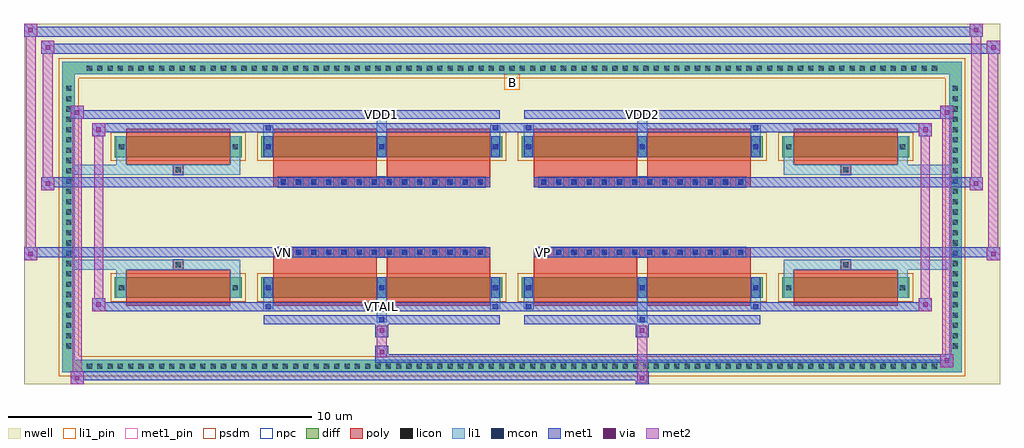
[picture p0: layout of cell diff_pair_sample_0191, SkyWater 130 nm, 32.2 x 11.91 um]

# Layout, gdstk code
import gdstk
lib = gdstk.Library(unit=1e-6, precision=5e-09)
def R(c, l, rs):  # rectangles x0, y0, x1, y1
    for r in rs: c.add(gdstk.rectangle(r[:2], r[2:], *l))
def A(c, l, x, y, w, h, nx, ny, dx, dy):  # array of equal rectangles
    R(c, l, [(x+i*dx, y+j*dy, x+i*dx+w, y+j*dy+h) for i in range(nx) for j in range(ny)])
def P(c, l, *ps):  # polygons
    for p in ps: c.add(gdstk.Polygon(p, *l))
nwell = (64, 20)
diff = (65, 20)
poly = (66, 20)
licon = (66, 44)
li1_pin = (67, 16)
li1 = (67, 20)
mcon = (67, 44)
met1_pin = (68, 16)
met1 = (68, 20)
via = (68, 44)
met2 = (69, 20)
psdm = (94, 20)
npc = (95, 20)

diff_pair_sample_0191 = lib.new_cell('diff_pair_sample_0191')
R(diff_pair_sample_0191, nwell, [(-16.1,-5.52,16.1,6.39), (-13.42,-3.71,-0.01,-0.795), (0.01,-3.71,13.42,-0.795), (-13.42,0.795,-0.01,3.71), (0.01,0.795,13.42,3.71)])
A(diff_pair_sample_0191, diff, -14.145, -5.12, 0.41, 0.41, 83, 2, 0.34, 9.83)
A(diff_pair_sample_0191, diff, -14.83, -4.455, 0.41, 0.41, 1, 26, 0, 0.34)
A(diff_pair_sample_0191, diff, 14.42, -4.455, 0.41, 0.41, 1, 26, 0, 0.34)
R(diff_pair_sample_0191, diff, [(-14.145,-5.12,14.145,-4.71), (-14.83,-4.455,-14.42,4.455), (14.42,-4.455,14.83,4.455), (-13.11,-2.665,-8.91,-1.985), (-8.27,-2.665,-0.32,-1.985), (0.32,-2.665,8.27,-1.985), (8.91,-2.665,13.11,-1.985), (-13.11,1.985,-8.91,2.665), (-8.27,1.985,-0.32,2.665), (0.32,1.985,8.27,2.665), (8.91,1.985,13.11,2.665), (-14.145,4.71,14.145,5.12)])
P(diff_pair_sample_0191, diff, [(14.83,5.12),(-14.83,5.12),(-14.83,-4.71),(-14.42,-4.71),(-14.42,4.71),(14.42,4.71),(14.42,-4.71),(-14.42,-4.71),(-14.83,-4.71),(-14.83,-5.12),(14.83,-5.12)])
A(diff_pair_sample_0191, poly, -7.71, -1.325, 0.33, 0.33, 14, 2, 0.5, 2.32)
A(diff_pair_sample_0191, poly, 0.88, -1.325, 0.33, 0.33, 14, 2, 0.5, 2.32)
R(diff_pair_sample_0191, poly, [(-12.72,-2.92,-9.3,-1.73), (-7.88,-2.92,-4.46,-1.73), (-4.13,-2.92,-0.71,-1.73), (0.71,-2.92,4.13,-1.73), (4.46,-2.92,7.88,-1.73), (9.3,-2.92,12.72,-1.73), (-11.175,-1.73,-10.845,-1.4), (-11.175,-1.73,-10.845,-1.4), (-7.88,-1.73,-4.46,-1.325), (-4.13,-1.73,-0.71,-1.325), (0.71,-1.73,4.13,-1.325), (4.46,-1.73,7.88,-1.325), (10.845,-1.73,11.175,-1.4), (10.845,-1.73,11.175,-1.4), (-7.88,-1.325,-0.71,-0.995), (0.71,-1.325,7.88,-0.995), (-7.88,0.995,-0.71,1.325), (0.71,0.995,7.88,1.325), (-7.88,1.325,-4.46,1.73), (-4.13,1.325,-0.71,1.73), (0.71,1.325,4.13,1.73), (4.46,1.325,7.88,1.73), (-11.175,1.4,-10.845,1.73), (-11.175,1.4,-10.845,1.73), (10.845,1.4,11.175,1.73), (10.845,1.4,11.175,1.73), (-12.72,1.73,-9.3,2.92), (-7.88,1.73,-4.46,2.92), (-4.13,1.73,-0.71,2.92), (0.71,1.73,4.13,2.92), (4.46,1.73,7.88,2.92), (9.3,1.73,12.72,2.92)])
A(diff_pair_sample_0191, licon, -14.025, -5, 0.17, 0.17, 83, 2, 0.34, 9.83)
A(diff_pair_sample_0191, licon, -14.71, -4.335, 0.17, 0.17, 1, 26, 0, 0.34)
A(diff_pair_sample_0191, licon, 14.54, -4.335, 0.17, 0.17, 1, 26, 0, 0.34)
A(diff_pair_sample_0191, licon, -8.13, -2.41, 0.17, 0.17, 3, 2, 3.75, 4.65)
A(diff_pair_sample_0191, licon, 0.46, -2.41, 0.17, 0.17, 3, 2, 3.75, 4.65)
A(diff_pair_sample_0191, licon, -7.63, -1.245, 0.17, 0.17, 14, 2, 0.5, 2.32)
A(diff_pair_sample_0191, licon, 0.96, -1.245, 0.17, 0.17, 14, 2, 0.5, 2.32)
R(diff_pair_sample_0191, licon, [(-12.97,-2.41,-12.8,-2.24), (-9.22,-2.41,-9.05,-2.24), (9.05,-2.41,9.22,-2.24), (12.8,-2.41,12.97,-2.24), (-11.095,-1.65,-10.925,-1.48), (10.925,-1.65,11.095,-1.48), (-11.095,1.48,-10.925,1.65), (10.925,1.48,11.095,1.65), (-12.97,2.24,-12.8,2.41), (-9.22,2.24,-9.05,2.41), (9.05,2.24,9.22,2.41), (12.8,2.24,12.97,2.41)])
R(diff_pair_sample_0191, li1_pin, [(-0.25,4.21,0.25,4.71)])
A(diff_pair_sample_0191, li1, -14.105, -5.08, 0.33, 0.33, 83, 2, 0.34, 9.83)
A(diff_pair_sample_0191, li1, -14.79, -4.415, 0.33, 0.33, 1, 26, 0, 0.34)
A(diff_pair_sample_0191, li1, 14.46, -4.415, 0.33, 0.33, 1, 26, 0, 0.34)
A(diff_pair_sample_0191, li1, -8.21, -2.665, 0.33, 0.68, 3, 2, 3.75, 4.65)
A(diff_pair_sample_0191, li1, 0.38, -2.665, 0.33, 0.68, 3, 2, 3.75, 4.65)
A(diff_pair_sample_0191, li1, -8.21, -2.49, 0.33, 0.33, 3, 2, 3.75, 4.65)
A(diff_pair_sample_0191, li1, 0.38, -2.49, 0.33, 0.33, 3, 2, 3.75, 4.65)
A(diff_pair_sample_0191, li1, -7.71, -1.325, 0.33, 0.33, 14, 2, 0.5, 2.32)
A(diff_pair_sample_0191, li1, 0.88, -1.325, 0.33, 0.33, 14, 2, 0.5, 2.32)
R(diff_pair_sample_0191, li1, [(-14.83,-5.12,-14.42,-4.71), (-14.83,-5.12,-14.42,-4.71), (-14.42,-5.12,14.42,-4.71), (14.42,-5.12,14.83,-4.71), (14.42,-5.12,14.83,-4.71), (-14.83,-4.71,-14.42,4.71), (14.42,-4.71,14.83,4.71), (-4.46,-3.47,-4.13,-2.665), (-4.38,-3.47,-4.21,-3.3), (4.13,-3.47,4.46,-2.665), (4.21,-3.47,4.38,-3.3), (-8.21,-3.04,-7.88,-2.665), (-8.13,-3.04,-7.96,-2.87), (-0.71,-3.04,-0.38,-2.665), (-0.63,-3.04,-0.46,-2.87), (0.38,-3.04,0.71,-2.665), (0.46,-3.04,0.63,-2.87), (7.88,-3.04,8.21,-2.665), (7.96,-3.04,8.13,-2.87), (-13.05,-2.665,-12.72,-1.985), (-9.3,-2.665,-8.97,-1.985), (8.97,-2.665,9.3,-1.985), (12.72,-2.665,13.05,-1.985), (-13.05,-2.49,-12.72,-2.16), (-9.3,-2.49,-8.97,-2.16), (8.97,-2.49,9.3,-2.16), (12.72,-2.49,13.05,-2.16), (-8.13,-2.41,-7.96,-2.24), (-8.13,-2.41,-7.96,-2.24), (-4.38,-2.41,-4.21,-2.24), (-4.38,-2.41,-4.21,-2.24), (-0.63,-2.41,-0.46,-2.24), (-0.63,-2.41,-0.46,-2.24), (0.46,-2.41,0.63,-2.24), (0.46,-2.41,0.63,-2.24), (4.21,-2.41,4.38,-2.24), (4.21,-2.41,4.38,-2.24), (7.96,-2.41,8.13,-2.24), (7.96,-2.41,8.13,-2.24), (-13.05,-1.985,-12.72,-1.4), (-9.3,-1.985,-8.97,-1.4), (8.97,-1.985,9.3,-1.4), (12.72,-1.985,13.05,-1.4), (-14.83,-1.73,-11.175,-1.4), (-13.05,-1.73,-11.175,-1.4), (-11.175,-1.73,-10.845,-1.4), (-10.845,-1.73,-8.97,-1.4), (8.97,-1.73,10.845,-1.4), (10.845,-1.73,11.175,-1.4), (10.845,-1.73,14.83,-1.4), (11.175,-1.73,13.05,-1.4), (-14.83,1.4,-11.175,1.73), (-13.05,1.4,-11.175,1.73), (-13.05,1.4,-12.72,1.985), (-11.175,1.4,-10.845,1.73), (-10.845,1.4,-8.97,1.73), (-9.3,1.4,-8.97,1.985), (8.97,1.4,10.845,1.73), (8.97,1.4,9.3,1.985), (10.845,1.4,11.175,1.73), (10.845,1.4,14.83,1.73), (11.175,1.4,13.05,1.73), (12.72,1.4,13.05,1.985), (-13.05,1.985,-12.72,2.665), (-9.3,1.985,-8.97,2.665), (8.97,1.985,9.3,2.665), (12.72,1.985,13.05,2.665), (-13.05,2.16,-12.72,2.49), (-9.3,2.16,-8.97,2.49), (8.97,2.16,9.3,2.49), (12.72,2.16,13.05,2.49), (-8.13,2.24,-7.96,2.41), (-8.13,2.24,-7.96,2.41), (-4.38,2.24,-4.21,2.41), (-4.38,2.24,-4.21,2.41), (-0.63,2.24,-0.46,2.41), (-0.63,2.24,-0.46,2.41), (0.46,2.24,0.63,2.41), (0.46,2.24,0.63,2.41), (4.21,2.24,4.38,2.41), (4.21,2.24,4.38,2.41), (7.96,2.24,8.13,2.41), (7.96,2.24,8.13,2.41), (-8.21,2.665,-7.88,3.04), (-4.46,2.665,-4.13,3.47), (-0.71,2.665,-0.38,3.04), (0.38,2.665,0.71,3.04), (4.13,2.665,4.46,3.47), (7.88,2.665,8.21,3.04), (-8.13,2.87,-7.96,3.04), (-0.63,2.87,-0.46,3.04), (0.46,2.87,0.63,3.04), (7.96,2.87,8.13,3.04), (-4.38,3.3,-4.21,3.47), (4.21,3.3,4.38,3.47), (-14.83,4.71,-14.42,5.12), (-14.83,4.71,-14.42,5.12), (-14.42,4.71,14.42,5.12), (14.42,4.71,14.83,5.12), (14.42,4.71,14.83,5.12)])
A(diff_pair_sample_0191, mcon, -8.13, -2.41, 0.17, 0.17, 3, 2, 3.75, 4.65)
A(diff_pair_sample_0191, mcon, 0.46, -2.41, 0.17, 0.17, 3, 2, 3.75, 4.65)
A(diff_pair_sample_0191, mcon, -7.63, -1.245, 0.17, 0.17, 14, 2, 0.5, 2.32)
A(diff_pair_sample_0191, mcon, 0.96, -1.245, 0.17, 0.17, 14, 2, 0.5, 2.32)
R(diff_pair_sample_0191, mcon, [(-4.38,-3.47,-4.21,-3.3), (4.21,-3.47,4.38,-3.3), (-8.13,-3.04,-7.96,-2.87), (-0.63,-3.04,-0.46,-2.87), (0.46,-3.04,0.63,-2.87), (7.96,-3.04,8.13,-2.87), (-8.13,2.87,-7.96,3.04), (-0.63,2.87,-0.46,3.04), (0.46,2.87,0.63,3.04), (7.96,2.87,8.13,3.04), (-4.38,3.3,-4.21,3.47), (4.21,3.3,4.38,3.47)])
R(diff_pair_sample_0191, met1_pin, [(-4.43,-3.08,-4.16,-2.81), (-7.68,-1.285,-7.41,-1.015), (0.91,-1.285,1.18,-1.015), (-4.43,3.26,-4.16,3.53), (4.16,3.26,4.43,3.53)])
A(diff_pair_sample_0191, met1, -8.19, -2.665, 0.29, 0.68, 3, 2, 3.75, 4.65)
A(diff_pair_sample_0191, met1, 0.4, -2.665, 0.29, 0.68, 3, 2, 3.75, 4.65)
A(diff_pair_sample_0191, met1, -8.19, -2.47, 0.29, 0.29, 3, 2, 3.75, 4.65)
A(diff_pair_sample_0191, met1, 0.4, -2.47, 0.29, 0.29, 3, 2, 3.75, 4.65)
A(diff_pair_sample_0191, met1, -7.69, -1.305, 0.29, 0.29, 14, 2, 0.5, 2.32)
A(diff_pair_sample_0191, met1, 0.9, -1.305, 0.29, 0.29, 14, 2, 0.5, 2.32)
R(diff_pair_sample_0191, met1, [(-14.56,-5.52,-14.13,-5.09), (4.08,-5.52,4.51,-5.09), (-14.56,-5.38,4.51,-5.09), (14.13,-4.95,14.56,-4.52), (-4.51,-4.81,14.56,-4.52), (-4.51,-4.67,-4.08,-4.24), (-4.51,-3.96,-4.08,-3.53), (4.08,-3.96,4.51,-3.53), (-8.19,-3.53,-0.4,-3.24), (-4.44,-3.53,-4.15,-3.24), (0.4,-3.53,8.19,-3.24), (4.15,-3.53,4.44,-3.24), (-13.85,-3.1,-13.42,-2.67), (-13.85,-3.1,-8.19,-2.81), (-8.19,-3.1,-7.9,-2.81), (-8.19,-3.1,-0.4,-2.81), (-0.69,-3.1,-0.4,-2.81), (-0.4,-3.1,0.4,-2.81), (0.4,-3.1,0.69,-2.81), (0.4,-3.1,8.19,-2.81), (7.9,-3.1,8.19,-2.81), (8.19,-3.1,13.85,-2.81), (13.42,-3.1,13.85,-2.67), (-16.1,-1.425,-15.67,-0.995), (15.67,-1.425,16.1,-0.995), (-16.1,-1.325,-0.71,-0.995), (-7.88,-1.325,-0.71,-0.995), (0.71,-1.325,7.88,-0.995), (0.71,-1.325,16.1,-0.995), (-15.53,0.895,-15.1,1.325), (15.1,0.895,15.53,1.325), (-15.53,0.995,-7.88,1.325), (-7.88,0.995,-0.71,1.325), (0.71,0.995,7.88,1.325), (7.88,0.995,15.53,1.325), (-13.85,2.67,-13.42,3.1), (13.42,2.67,13.85,3.1), (-13.85,2.81,-8.19,3.1), (-8.19,2.81,-7.9,3.1), (-8.19,2.81,-0.4,3.1), (-0.69,2.81,-0.4,3.1), (-0.4,2.81,0.4,3.1), (0.4,2.81,0.69,3.1), (0.4,2.81,8.19,3.1), (7.9,2.81,8.19,3.1), (8.19,2.81,13.85,3.1), (-14.56,3.24,-14.13,3.67), (-14.56,3.24,-8.19,3.53), (-8.19,3.24,-0.4,3.53), (-4.44,3.24,-4.15,3.53), (0.4,3.24,8.19,3.53), (4.15,3.24,4.44,3.53), (8.19,3.24,14.56,3.53), (14.13,3.24,14.56,3.67), (-15.53,5.39,-15.1,5.82), (-15.53,5.39,-13.42,5.72), (-13.42,5.39,13.42,5.72), (13.42,5.39,16.1,5.72), (15.67,5.39,16.1,5.82), (-16.1,5.96,-15.67,6.39), (-16.1,5.96,-13.42,6.29), (-13.42,5.96,13.42,6.29), (13.42,5.96,15.53,6.29), (15.1,5.96,15.53,6.39)])
R(diff_pair_sample_0191, via, [(-14.42,-5.38,-14.27,-5.23), (4.22,-5.38,4.37,-5.23), (14.27,-4.81,14.42,-4.66), (-4.37,-4.53,-4.22,-4.38), (-4.37,-3.82,-4.22,-3.67), (4.22,-3.82,4.37,-3.67), (-13.71,-2.96,-13.56,-2.81), (13.56,-2.96,13.71,-2.81), (-15.96,-1.285,-15.81,-1.135), (15.81,-1.285,15.96,-1.135), (-15.39,1.035,-15.24,1.185), (15.24,1.035,15.39,1.185), (-13.71,2.81,-13.56,2.96), (13.56,2.81,13.71,2.96), (-14.42,3.38,-14.27,3.53), (14.27,3.38,14.42,3.53), (-15.39,5.53,-15.24,5.68), (15.81,5.53,15.96,5.68), (-15.96,6.1,-15.81,6.25), (15.24,6.1,15.39,6.25)])
R(diff_pair_sample_0191, met2, [(-14.56,-5.52,-14.13,-5.09), (-14.49,-5.52,-14.2,3.67), (-14.2,-5.52,-14.13,-5.09), (-14.51,-5.47,-14.18,-5.14), (4.13,-5.47,4.46,-5.14), (4.13,-5.14,4.46,-3.91), (14.13,-4.95,14.56,-4.52), (14.2,-4.95,14.49,3.67), (14.49,-4.95,14.56,-4.52), (14.18,-4.9,14.51,-4.57), (-4.46,-4.62,-4.13,-4.29), (-4.46,-4.29,-4.13,-3.91), (-4.46,-3.91,-4.13,-3.58), (4.13,-3.91,4.46,-3.58), (-13.85,-3.1,-13.42,-2.67), (-13.78,-3.1,-13.49,3.1), (-13.49,-3.1,-13.42,-2.67), (13.42,-3.1,13.85,-2.67), (13.49,-3.1,13.78,3.1), (13.78,-3.1,13.85,-2.67), (-13.8,-3.05,-13.47,-2.72), (13.47,-3.05,13.8,-2.72), (-16.1,-1.425,-15.67,-0.995), (-16.05,-1.425,-15.72,6.39), (-15.72,-1.425,-15.67,-0.995), (15.67,-1.425,16.1,-0.995), (15.72,-1.425,16.05,5.82), (16.05,-1.425,16.1,-0.995), (-16.05,-1.375,-15.72,-1.045), (15.72,-1.375,16.05,-1.045), (-15.53,0.895,-15.1,1.325), (-15.48,0.895,-15.15,5.82), (-15.15,0.895,-15.1,1.325), (15.1,0.895,15.53,1.325), (15.15,0.895,15.48,6.39), (15.48,0.895,15.53,1.325), (-15.48,0.945,-15.15,1.275), (15.15,0.945,15.48,1.275), (-13.85,2.67,-13.42,3.1), (-13.49,2.67,-13.42,3.1), (13.42,2.67,13.85,3.1), (13.78,2.67,13.85,3.1), (-13.8,2.72,-13.47,3.05), (13.47,2.72,13.8,3.05), (-14.56,3.24,-14.13,3.67), (-14.2,3.24,-14.13,3.67), (14.13,3.24,14.56,3.67), (14.49,3.24,14.56,3.67), (-14.51,3.29,-14.18,3.62), (14.18,3.29,14.51,3.62), (-15.53,5.39,-15.1,5.82), (-15.15,5.39,-15.1,5.82), (15.67,5.39,16.1,5.82), (16.05,5.39,16.1,5.82), (-15.48,5.44,-15.15,5.77), (15.72,5.44,16.05,5.77), (-16.1,5.96,-15.67,6.39), (-15.72,5.96,-15.67,6.39), (15.1,5.96,15.53,6.39), (15.48,5.96,15.53,6.39), (-16.05,6.01,-15.72,6.34), (15.15,6.01,15.48,6.34)])
R(diff_pair_sample_0191, psdm, [(-13.24,-2.795,-8.78,-1.855), (-8.4,-2.795,-0.19,-1.855), (0.19,-2.795,8.4,-1.855), (8.78,-2.795,13.24,-1.855), (-13.24,1.855,-8.78,2.795), (-8.4,1.855,-0.19,2.795), (0.19,1.855,8.4,2.795), (8.78,1.855,13.24,2.795)])
P(diff_pair_sample_0191, psdm, [(14.96,5.25),(-14.96,5.25),(-14.96,-4.58),(-14.29,-4.58),(-14.29,4.58),(14.29,4.58),(14.29,-4.58),(-14.29,-4.58),(-14.96,-4.58),(-14.96,-5.25),(14.96,-5.25)])
A(diff_pair_sample_0191, npc, -7.73, -1.345, 0.37, 0.37, 14, 2, 0.5, 2.32)
A(diff_pair_sample_0191, npc, 0.86, -1.345, 0.37, 0.37, 14, 2, 0.5, 2.32)
R(diff_pair_sample_0191, npc, [(-11.195,-1.75,-10.825,-1.38), (10.825,-1.75,11.195,-1.38), (-7.73,-1.345,-6.86,-0.975), (-7.73,-1.345,-6.86,-0.975), (-7.23,-1.345,-6.36,-0.975), (-7.23,-1.345,-6.36,-0.975), (-6.73,-1.345,-5.86,-0.975), (-6.73,-1.345,-5.86,-0.975), (-6.23,-1.345,-5.36,-0.975), (-6.23,-1.345,-5.36,-0.975), (-5.73,-1.345,-4.86,-0.975), (-5.73,-1.345,-4.86,-0.975), (-5.23,-1.345,-4.36,-0.975), (-5.23,-1.345,-4.36,-0.975), (-4.73,-1.345,-3.86,-0.975), (-4.73,-1.345,-3.86,-0.975), (-4.23,-1.345,-3.36,-0.975), (-4.23,-1.345,-3.36,-0.975), (-3.73,-1.345,-2.86,-0.975), (-3.73,-1.345,-2.86,-0.975), (-3.23,-1.345,-2.36,-0.975), (-3.23,-1.345,-2.36,-0.975), (-2.73,-1.345,-1.86,-0.975), (-2.73,-1.345,-1.86,-0.975), (-2.23,-1.345,-1.36,-0.975), (-2.23,-1.345,-1.36,-0.975), (-1.73,-1.345,-0.86,-0.975), (-1.73,-1.345,-0.86,-0.975), (0.86,-1.345,1.73,-0.975), (0.86,-1.345,1.73,-0.975), (1.36,-1.345,2.23,-0.975), (1.36,-1.345,2.23,-0.975), (1.86,-1.345,2.73,-0.975), (1.86,-1.345,2.73,-0.975), (2.36,-1.345,3.23,-0.975), (2.36,-1.345,3.23,-0.975), (2.86,-1.345,3.73,-0.975), (2.86,-1.345,3.73,-0.975), (3.36,-1.345,4.23,-0.975), (3.36,-1.345,4.23,-0.975), (3.86,-1.345,4.73,-0.975), (3.86,-1.345,4.73,-0.975), (4.36,-1.345,5.23,-0.975), (4.36,-1.345,5.23,-0.975), (4.86,-1.345,5.73,-0.975), (4.86,-1.345,5.73,-0.975), (5.36,-1.345,6.23,-0.975), (5.36,-1.345,6.23,-0.975), (5.86,-1.345,6.73,-0.975), (5.86,-1.345,6.73,-0.975), (6.36,-1.345,7.23,-0.975), (6.36,-1.345,7.23,-0.975), (6.86,-1.345,7.73,-0.975), (6.86,-1.345,7.73,-0.975), (-7.73,0.975,-6.86,1.345), (-7.73,0.975,-6.86,1.345), (-7.23,0.975,-6.36,1.345), (-7.23,0.975,-6.36,1.345), (-6.73,0.975,-5.86,1.345), (-6.73,0.975,-5.86,1.345), (-6.23,0.975,-5.36,1.345), (-6.23,0.975,-5.36,1.345), (-5.73,0.975,-4.86,1.345), (-5.73,0.975,-4.86,1.345), (-5.23,0.975,-4.36,1.345), (-5.23,0.975,-4.36,1.345), (-4.73,0.975,-3.86,1.345), (-4.73,0.975,-3.86,1.345), (-4.23,0.975,-3.36,1.345), (-4.23,0.975,-3.36,1.345), (-3.73,0.975,-2.86,1.345), (-3.73,0.975,-2.86,1.345), (-3.23,0.975,-2.36,1.345), (-3.23,0.975,-2.36,1.345), (-2.73,0.975,-1.86,1.345), (-2.73,0.975,-1.86,1.345), (-2.23,0.975,-1.36,1.345), (-2.23,0.975,-1.36,1.345), (-1.73,0.975,-0.86,1.345), (-1.73,0.975,-0.86,1.345), (0.86,0.975,1.73,1.345), (0.86,0.975,1.73,1.345), (1.36,0.975,2.23,1.345), (1.36,0.975,2.23,1.345), (1.86,0.975,2.73,1.345), (1.86,0.975,2.73,1.345), (2.36,0.975,3.23,1.345), (2.36,0.975,3.23,1.345), (2.86,0.975,3.73,1.345), (2.86,0.975,3.73,1.345), (3.36,0.975,4.23,1.345), (3.36,0.975,4.23,1.345), (3.86,0.975,4.73,1.345), (3.86,0.975,4.73,1.345), (4.36,0.975,5.23,1.345), (4.36,0.975,5.23,1.345), (4.86,0.975,5.73,1.345), (4.86,0.975,5.73,1.345), (5.36,0.975,6.23,1.345), (5.36,0.975,6.23,1.345), (5.86,0.975,6.73,1.345), (5.86,0.975,6.73,1.345), (6.36,0.975,7.23,1.345), (6.36,0.975,7.23,1.345), (6.86,0.975,7.73,1.345), (6.86,0.975,7.73,1.345), (-11.195,1.38,-10.825,1.75), (10.825,1.38,11.195,1.75)])
diff_pair_sample_0191.add(gdstk.Label('VTAIL', (-4.295,-2.945), layer=68, texttype=5))
diff_pair_sample_0191.add(gdstk.Label('VN', (-7.545,-1.15), layer=68, texttype=5))
diff_pair_sample_0191.add(gdstk.Label('VP', (1.045,-1.15), layer=68, texttype=5))
diff_pair_sample_0191.add(gdstk.Label('B', (0,4.46), layer=67, texttype=5))
diff_pair_sample_0191.add(gdstk.Label('VDD2', (4.295,3.395), layer=68, texttype=5))
diff_pair_sample_0191.add(gdstk.Label('VDD1', (-4.295,3.395), layer=68, texttype=5))

lib.write_gds('diff_pair_sample_0191.gds')
